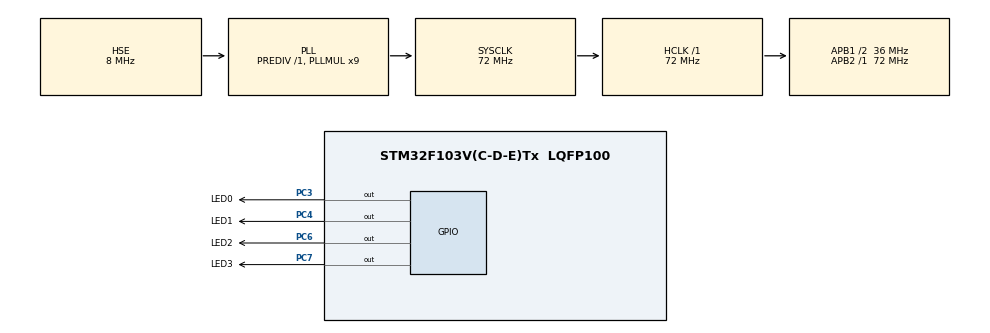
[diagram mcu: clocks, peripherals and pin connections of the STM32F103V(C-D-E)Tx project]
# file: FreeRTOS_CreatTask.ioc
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FREERTOS.Tasks01=Task_LED0,0,128,Func_LED0,Default,NULL,Dynamic,NULL,NULL;Task_LED1,0,128,Func_LED1,Default,NULL,Dynamic,NULL,NULL
Mcu.Family=STM32F1
Mcu.Name=STM32F103V(C-D-E)Tx
Mcu.Package=LQFP100
NVIC.PriorityGroup=NVIC_PRIORITYGROUP_4
NVIC.TIM4_IRQn=true\:0\:0\:false\:false\:true\:false\:false
NVIC.TimeBase=TIM4_IRQn
NVIC.TimeBaseIP=TIM4
OSC_IN.Mode=HSE-External-Oscillator
OSC_IN.Signal=RCC_OSC_IN
OSC_OUT.Mode=HSE-External-Oscillator
OSC_OUT.Signal=RCC_OSC_OUT
PA13.Mode=Serial_Wire
PA13.Signal=SYS_JTMS-SWDIO
PA14.Mode=Serial_Wire
PA14.Signal=SYS_JTCK-SWCLK
PC3.GPIO_Label=LED0
PC3.Signal=GPIO_Output
PC4.GPIO_Label=LED1
PC4.Signal=GPIO_Output
PC6.GPIO_Label=LED2
PC6.Signal=GPIO_Output
PC7.GPIO_Label=LED3
PC7.Signal=GPIO_Output
ProjectManager.HeapSize=0x200
ProjectManager.StackSize=0x400
ProjectManager.TargetToolchain=Makefile
RCC.AHBFreq_Value=72000000
RCC.APB1CLKDivider=RCC_HCLK_DIV2
RCC.APB1Freq_Value=36000000
RCC.APB1TimFreq_Value=72000000
RCC.APB2Freq_Value=72000000
RCC.APB2TimFreq_Value=72000000
RCC.HCLKFreq_Value=72000000
RCC.PLLMUL=RCC_PLL_MUL9
RCC.PLLSourceVirtual=RCC_PLLSOURCE_HSE
RCC.SYSCLKFreq_VALUE=72000000
RCC.SYSCLKSource=RCC_SYSCLKSOURCE_PLLCLK
RCC.USBFreq_Value=72000000
VP_FREERTOS_VS_ENABLE.Mode=Enabled
VP_SYS_VS_tim4.Mode=TIM4
board=custom

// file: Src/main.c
/**
  ******************************************************************************
  * @file           : main.c
  * @brief          : Main program body
  ******************************************************************************
  * This notice applies to any and all portions of this file
  * that are not between comment pairs USER CODE BEGIN and
  * USER CODE END. Other portions of this file, whether
  * inserted by the user or by software development tools
  * are owned by their respective copyright owners.
  *
  * Copyright (c) 2018 STMicroelectronics International N.V.
  * All rights reserved.
  *
  * Redistribution and use in source and binary forms, with or without
  * modification, are permitted, provided that the following conditions are met:
  *
  * 1. Redistribution of source code must retain the above copyright notice,
  *    this list of conditions and the following disclaimer.
  * 2. Redistributions in binary form must reproduce the above copyright notice,
  *    this list of conditions and the following disclaimer in the documentation
  *    and/or other materials provided with the distribution.
  * 3. Neither the name of STMicroelectronics nor the names of other
  *    contributors to this software may be used to endorse or promote products
  *    derived from this software without specific written permission.
  * 4. This software, including modifications and/or derivative works of this
  *    software, must execute solely and exclusively on microcontroller or
  *    microprocessor devices manufactured by or for STMicroelectronics.
  * 5. Redistribution and use of this software other than as permitted under
  *    this license is void and will automatically terminate your rights under
  *    this license.
  *
  * THIS SOFTWARE IS PROVIDED BY STMICROELECTRONICS AND CONTRIBUTORS "AS IS"
  * AND ANY EXPRESS, IMPLIED OR STATUTORY WARRANTIES, INCLUDING, BUT NOT
  * LIMITED TO, THE IMPLIED WARRANTIES OF MERCHANTABILITY, FITNESS FOR A
  * PARTICULAR PURPOSE AND NON-INFRINGEMENT OF THIRD PARTY INTELLECTUAL PROPERTY
  * RIGHTS ARE DISCLAIMED TO THE FULLEST EXTENT PERMITTED BY LAW. IN NO EVENT
  * SHALL STMICROELECTRONICS OR CONTRIBUTORS BE LIABLE FOR ANY DIRECT, INDIRECT,
  * INCIDENTAL, SPECIAL, EXEMPLARY, OR CONSEQUENTIAL DAMAGES (INCLUDING, BUT NOT
  * LIMITED TO, PROCUREMENT OF SUBSTITUTE GOODS OR SERVICES; LOSS OF USE, DATA,
  * OR PROFITS; OR BUSINESS INTERRUPTION) HOWEVER CAUSED AND ON ANY THEORY OF
  * LIABILITY, WHETHER IN CONTRACT, STRICT LIABILITY, OR TORT (INCLUDING
  * NEGLIGENCE OR OTHERWISE) ARISING IN ANY WAY OUT OF THE USE OF THIS SOFTWARE,
  * EVEN IF ADVISED OF THE POSSIBILITY OF SUCH DAMAGE.
  *
  ******************************************************************************
  */
#include "main.h"
#include "stm32f1xx_hal.h"
#include "cmsis_os.h"

#include "arm_etm.h"
#include "FFT.h"

osThreadId Task_LED0Handle;
osThreadId Task_LED1Handle;

/* USER CODE BEGIN PV */
int globalCounter = 0;//int类型最大值是255可以追踪1-255个入口地址
                      //0x0A表示Func_LED0,0x0B表示Func_LED1
                      //0x0B表示ITM_Print，0x0C表示bubble_sort

extern complex data[N];
extern ElemType result[N];
/* Private variables ---------------------------------------------------------*/

/* USER CODE END PV */

void SystemClock_Config(void);
static void MX_GPIO_Init(void);
void Func_LED0(void const * argument);
void Func_LED1(void const * argument);

/* USER CODE BEGIN PFP */

void configure_tracing()
{
    /* STM32 specific configuration to enable the TRACESWO IO pin */
    RCC->APB2ENR |= RCC_APB2ENR_AFIOEN;
    AFIO->MAPR |= (2 << 24); // Disable JTAG to release TRACESWO
    DBGMCU->CR |= DBGMCU_CR_TRACE_IOEN; // Enable IO trace pins

    if (!(DBGMCU->CR & DBGMCU_CR_TRACE_IOEN))
    {
        // Some (all?) STM32s don't allow writes to DBGMCU register until
        // C_DEBUGEN in CoreDebug->DHCSR is set. This cannot be set by the
        // CPU itself, so in practice you need to connect to the CPU with
        // a debugger once before resetting it.
        return;
    }

    /* Configure Trace Port Interface Unit */
    CoreDebug->DEMCR |= CoreDebug_DEMCR_TRCENA_Msk; // Enable access to registers
    TPI->ACPR = 8; // Trace clock = HCLK/(x+1) = 8MHz    这里HCLK是处理器时钟,这个值的初始值是0，0+1=1就是没有分频,还注释说是8MHz那是因为F105是8MHz
    TPI->SPPR = 2; // Pin protocol = NRZ/USART

    TPI->FFCR = 0x102;
    //TPI->FFCR = 0x100; //为什么设置102开启ETM后，ITM输出就不对了？？,在博客http://essentialscrap.com/tips/arm_trace/theory.html 中说到启用ETM会生成大量数据将使ITM追踪事件的数据丢失
    		       // TPIU packet framing enabled when bit 2 is set.
    		       // You can use 0x102 if you need both DWT/ITM and ETM.
                       // You can use 0x100 if you only need DWT/ITM and not ETM.

    /* Configure PC sampling and exception trace  */
    DWT->CTRL = (1 << DWT_CTRL_CYCTAP_Pos) // Prescaler for PC sampling
                                           // 0 = x32, 1 = x512  //
                    //bits[6]就是DWT_CYCCNT寄存器的0到5bit，那么节拍就是32记录一次PC,bits[10]就是0到9bit，那么节拍记录就是512记录一次PC
              | (0 << DWT_CTRL_POSTPRESET_Pos) // Postscaler for PC sampling
                                                // Divider = value + 1
              | (1 << DWT_CTRL_PCSAMPLENA_Pos) // Enable PC sampling
              | (2 << DWT_CTRL_SYNCTAP_Pos)    // Sync packet interval
                                               // 0 = Off, 1 = Every 2^23 cycles,
                                               // 2 = Every 2^25, 3 = Every 2^27
              | (1 << DWT_CTRL_EXCTRCENA_Pos)  // Enable exception trace
              | (1 << DWT_CTRL_CYCCNTENA_Pos); // Enable cycle counter

    /* Configure instrumentation trace macroblock */
    ITM->LAR = 0xC5ACCE55;
    ITM->TCR = (1 << ITM_TCR_TraceBusID_Pos) // Trace bus ID for TPIU
             | (1 << ITM_TCR_DWTENA_Pos) // Enable events from DWT
             | (1 << ITM_TCR_SYNCENA_Pos) // Enable sync packets
             | (1 << ITM_TCR_ITMENA_Pos); // Main enable for ITM
    ITM->TER = 0xFFFFFFFF; // Enable all stimulus ports

    //ETM_Lock_Access = 0xC5ACCE55;
    //ETM_Control = 0x00001D1E;
    //ETM_Trigger_Event = 0x0000406F;
    //ETM_Trace_Enable_Event = 0x0000006F;
    //ETM_Trace_Start_Stop = 0x00000001;

   /* Configure embedded trace macroblock */
    ETM->LAR = 0xC5ACCE55;
    ETM_SetupMode();
    ETM->CR = ETM_CR_ETMEN // Enable ETM output port
            | ETM_CR_STALL_PROCESSOR // Stall processor when fifo is full
            | ETM_CR_BRANCH_OUTPUT // Report all branches
            | (1 << 4);//port_size位21,6,5,4是0001表示8bit，这里目前认为复位值都是0,那么把第4位改为1就行
    ETM->TRACEIDR = 2; // Trace bus ID for TPIU
    ETM->TECR1 = ETM_TECR1_EXCLUDE; // Trace always enabled
    ETM->FFRR = ETM_FFRR_EXCLUDE; // Stalling always enabled
    ETM->FFLR = 24; // Stall when less than N bytes free in FIFO (range 1..24)
                    // Larger values mean less latency in trace, but more stalls.
    // Note: we do not enable ETM trace yet, only for specific parts of code.

    ETM->TRIGGER = 0x0000406F;
    ETM->TEEVR = 0x0000006F;
    //ETM->TSSCR = 0x00000001;

}

void configure_watchpoint()
{
    /* This is an example of how to configure DWT to monitor a watchpoint.
       The data value is reported when the watchpoint is hit. */

    /* Monitor all accesses to GPIOC (range length 32 bytes) */
    //DWT->COMP0 = (uint32_t)bubble_sort;                      //改为了比GPIOC
//    DWT->COMP0 = (uint32_t)GPIOC;                      //改为了比较GPIOC
//    DWT->MASK0 = 8;							 //屏蔽掉数据地址的后5位，目前DWT->COMP0的值是GPIOA的地址:0x40010800
//											//可能是出于加快比较速度的原因吧，那为什么不把MASK[3:0]
//										        //设置为8,反正0x40010800最后八位都是0
//
//    DWT->FUNCTION0 = (2 << DWT_FUNCTION_FUNCTION_Pos) // Report data and addr on watchpoint hit
//                   | (1 << DWT_FUNCTION_EMITRANGE_Pos);
//                   //| (1 << DWT_FUNCTION_CYCMATCH_Pos);

    /* Monitor all accesses to globalCounter (range length 4 bytes) */
    DWT->COMP1 = (uint32_t)&globalCounter;
    DWT->MASK1 = 2;
    DWT->FUNCTION1 = (3 << DWT_FUNCTION_FUNCTION_Pos); // Report data and PC on watchpoint hit
}

void ITM_Print(int port, const char *p)
{
    globalCounter = 0x0C;
    if ((ITM->TCR & ITM_TCR_ITMENA_Msk) && (ITM->TER & (1UL << port)))
    {
        while (*p)
        {
            while (ITM->PORT[port].u32 == 0);//时间片下多进程使用一个查询函数在这里始终过不去了，这个问题需要引起注意,原因是两个进程在抢这个发送u端口
            ITM->PORT[port].u8 = *p++;
        }
    }
}

void ITM_SendValue (int port, uint32_t value)
{
    if ((ITM->TCR & ITM_TCR_ITMENA_Msk) && (ITM->TER & (1UL << port)))
    {
        while (ITM->PORT[port].u32 == 0);
        ITM->PORT[port].u32 = value;
    }
}

void bubble_sort (int *a, int n)
{
    globalCounter = 0x0D;
    int i, t, s = 1;
    while (s)
    {
        s = 0;
        for (i = 1; i < n; i++)
        {
            if (a[i] < a[i - 1])
            {
                t = a[i];
                a[i] = a[i - 1];
                a[i - 1] = t;
                s = 1;
            }
        }
    }
}

/* Private function prototypes -----------------------------------------------*/

/* USER CODE END PFP */

int main(void)
{

  /* MCU Configuration----------------------------------------------------------*/

  /* Reset of all peripherals, Initializes the Flash interface and the Systick. */
  HAL_Init();

  /* Configure the system clock */
  SystemClock_Config();

  /* Initialize all configured peripherals */
  MX_GPIO_Init();
  /* USER CODE BEGIN 2 */

  configure_tracing();
  configure_watchpoint();

  /* USER CODE END 2 */

  /* Create the thread(s) */
  /* definition and creation of Task_LED0 */
  osThreadDef(Task_LED0, Func_LED0, osPriorityNormal, 0, 128);
  Task_LED0Handle = osThreadCreate(osThread(Task_LED0), NULL);

  /* definition and creation of Task_LED1 */
  osThreadDef(Task_LED1, Func_LED1, osPriorityNormal, 0, 128);
  Task_LED1Handle = osThreadCreate(osThread(Task_LED1), NULL);

  /* Start scheduler */
  osKernelStart();

  /* We should never get here as control is now taken by the scheduler */

  /* Infinite loop */
  while (1)
  {

  }

}

void SystemClock_Config(void)
{

  RCC_OscInitTypeDef RCC_OscInitStruct;
  RCC_ClkInitTypeDef RCC_ClkInitStruct;

    /**Initializes the CPU, AHB and APB busses clocks
    */
  RCC_OscInitStruct.OscillatorType = RCC_OSCILLATORTYPE_HSE;
  RCC_OscInitStruct.HSEState = RCC_HSE_ON;
  RCC_OscInitStruct.HSEPredivValue = RCC_HSE_PREDIV_DIV1;
  RCC_OscInitStruct.HSIState = RCC_HSI_ON;
  RCC_OscInitStruct.PLL.PLLState = RCC_PLL_ON;
  RCC_OscInitStruct.PLL.PLLSource = RCC_PLLSOURCE_HSE;
  RCC_OscInitStruct.PLL.PLLMUL = RCC_PLL_MUL9;
  if (HAL_RCC_OscConfig(&RCC_OscInitStruct) != HAL_OK)
  {
    _Error_Handler(__FILE__, __LINE__);
  }

    /**Initializes the CPU, AHB and APB busses clocks
    */
  RCC_ClkInitStruct.ClockType = RCC_CLOCKTYPE_HCLK|RCC_CLOCKTYPE_SYSCLK
                              |RCC_CLOCKTYPE_PCLK1|RCC_CLOCKTYPE_PCLK2;
  RCC_ClkInitStruct.SYSCLKSource = RCC_SYSCLKSOURCE_PLLCLK;
  RCC_ClkInitStruct.AHBCLKDivider = RCC_SYSCLK_DIV1;
  RCC_ClkInitStruct.APB1CLKDivider = RCC_HCLK_DIV2;
  RCC_ClkInitStruct.APB2CLKDivider = RCC_HCLK_DIV1;

  if (HAL_RCC_ClockConfig(&RCC_ClkInitStruct, FLASH_LATENCY_2) != HAL_OK)
  {
    _Error_Handler(__FILE__, __LINE__);
  }

    /**Configure the Systick interrupt time
    */
  HAL_SYSTICK_Config(HAL_RCC_GetHCLKFreq()/1000);

    /**Configure the Systick
    */
  HAL_SYSTICK_CLKSourceConfig(SYSTICK_CLKSOURCE_HCLK);

  /* SysTick_IRQn interrupt configuration */
  HAL_NVIC_SetPriority(SysTick_IRQn, 15, 0);
}

/** Configure pins as
        * Analog
        * Input
        * Output
        * EVENT_OUT
        * EXTI
*/
static void MX_GPIO_Init(void)
{

  GPIO_InitTypeDef GPIO_InitStruct;

  /* GPIO Ports Clock Enable */
  __HAL_RCC_GPIOC_CLK_ENABLE();
  __HAL_RCC_GPIOA_CLK_ENABLE();

  /*Configure GPIO pin Output Level */
  HAL_GPIO_WritePin(GPIOC, LED0_Pin|LED1_Pin|LED2_Pin|LED3_Pin, GPIO_PIN_RESET);

  /*Configure GPIO pins : LED0_Pin LED1_Pin LED2_Pin LED3_Pin */
  GPIO_InitStruct.Pin = LED0_Pin|LED1_Pin|LED2_Pin|LED3_Pin;
  GPIO_InitStruct.Mode = GPIO_MODE_OUTPUT_PP;
  GPIO_InitStruct.Pull = GPIO_NOPULL;
  GPIO_InitStruct.Speed = GPIO_SPEED_FREQ_LOW;
  HAL_GPIO_Init(GPIOC, &GPIO_InitStruct);

}

/* Func_LED0 function */
void Func_LED0(void const * argument)
{

  /* USER CODE BEGIN 5 */
  for(int i=0; i<N; i++)//制造FFT输入序列
  {
    data[i].real = sin(2*PI*i/N);
  }
  /* Infinite loop */
  for(;;)
  {
    globalCounter = 0x0A;//0x0A表示Func_LED0
    //osDelay(5);
    HAL_GPIO_WritePin(LED0_GPIO_Port, LED0_Pin, GPIO_PIN_RESET);
    //osDelay(5);
    HAL_GPIO_WritePin(LED0_GPIO_Port, LED0_Pin, GPIO_PIN_SET);

    //用来测量运行时间的PC6翻转，抓取这一次翻转到下一次翻转的时间
    HAL_GPIO_WritePin(LED2_GPIO_Port, LED2_Pin, GPIO_PIN_RESET);
    osDelay(1);
    HAL_GPIO_WritePin(LED2_GPIO_Port, LED2_Pin, GPIO_PIN_SET);

    FFT(ChangeSeat(data));
    IFFT(ChangeSeat(data));

    ITM_Print(0,"LED0");
  }
  /* USER CODE END 5 */
}

/* Func_LED1 function */
void Func_LED1(void const * argument)
{
  /* USER CODE BEGIN Func_LED1 */
  int values_1[5] = {35,2,235,11,2};
  int values_2[5] = {30,1,214,10,8};
  /* Infinite loop */
  for(;;)
  {
    globalCounter = 0x0B;//0x0B表示Func_LED1
    //osDelay(5);
    HAL_GPIO_WritePin(LED1_GPIO_Port, LED1_Pin, GPIO_PIN_RESET);
    //osDelay(5);
    HAL_GPIO_WritePin(LED1_GPIO_Port, LED1_Pin, GPIO_PIN_SET);
    //ITM_Print(0,"LED1");
    //ETM_TraceMode();
    //bubble_sort(values, 5);
    //ETM_SetupMode();

    //用来测量运行时间的PC7翻转，抓取这一次翻转到下一次翻转的时间
    HAL_GPIO_WritePin(LED3_GPIO_Port, LED3_Pin, GPIO_PIN_RESET);
    osDelay(1);
    HAL_GPIO_WritePin(LED3_GPIO_Port, LED3_Pin, GPIO_PIN_SET);

    ETM_TraceMode();
    BinaryInsertSort(values_1, 5);
    bubble_sort(values_2, 5);
    ETM_SetupMode();

  }
  /* USER CODE END Func_LED1 */
}

void HAL_TIM_PeriodElapsedCallback(TIM_HandleTypeDef *htim)
{
  if (htim->Instance == TIM4) {
    HAL_IncTick();
  }
}

void _Error_Handler(char *file, int line)
{
  while(1)
  {
  }
}

/************************ (C) COPYRIGHT STMicroelectronics *****END OF FILE****/
